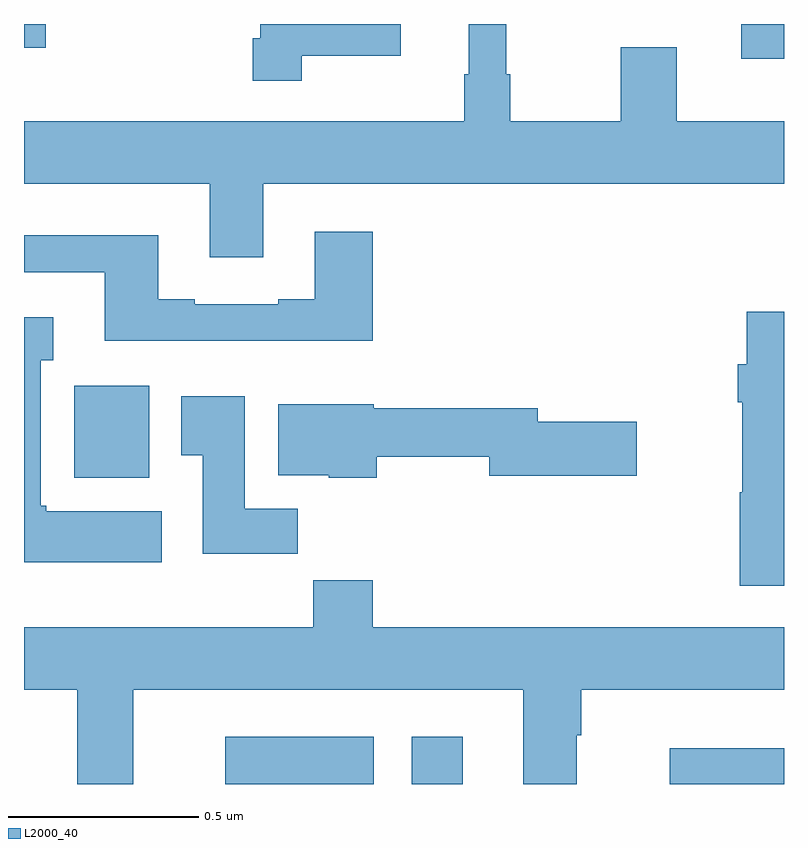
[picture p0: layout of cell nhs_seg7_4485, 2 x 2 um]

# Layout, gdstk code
import gdstk
lib = gdstk.Library(unit=1e-6, precision=1e-09)
def R(c, l, rs):  # rectangles x0, y0, x1, y1
    for r in rs: c.add(gdstk.rectangle(r[:2], r[2:], *l))
def P(c, l, *ps):  # polygons
    for p in ps: c.add(gdstk.Polygon(p, *l))
L2000_40 = (2000, 40)

nhs_seg7_4485 = lib.new_cell('nhs_seg7_4485')
R(nhs_seg7_4485, L2000_40, [(173.529,1035,173.92,1035.124), (174.02,1035,174.154,1035.124), (174.699,1035,175,1035.094), (173.132,1035.806,173.329,1036.048), (174.887,1036.908,175,1037), (173,1036.938,173.057,1037)])
P(nhs_seg7_4485, L2000_40, [(173.629,1036.58),(175,1036.58),(175,1036.744),(174.718,1036.744),(174.718,1036.939),(174.571,1036.939),(174.571,1036.744),(174.28,1036.744),(174.28,1036.868),(174.269,1036.868),(174.269,1037),(174.17,1037),(174.17,1036.868),(174.159,1036.868),(174.159,1036.744),(173,1036.744),(173,1036.58),(173.489,1036.58),(173.489,1036.386),(173.629,1036.386)],
  [(173.731,1036.916),(173.992,1036.916),(173.992,1037),(173.622,1037),(173.622,1036.963),(173.602,1036.963),(173.602,1036.851),(173.731,1036.851)],
  [(173.918,1036.453),(173.765,1036.453),(173.765,1036.276),(173.669,1036.276),(173.669,1036.263),(173.449,1036.263),(173.449,1036.276),(173.353,1036.276),(173.353,1036.444),(173,1036.444),(173,1036.347),(173.213,1036.347),(173.213,1036.166),(173.918,1036.166)],
  [(175,1036.243),(174.902,1036.243),(174.902,1036.104),(174.878,1036.104),(174.878,1036.004),(174.89,1036.004),(174.89,1035.768),(174.883,1035.768),(174.883,1035.522),(175,1035.522)],
  [(173.362,1035.718),(173.058,1035.718),(173.058,1035.732),(173.044,1035.732),(173.044,1036.115),(173.077,1036.115),(173.077,1036.228),(173,1036.228),(173,1035.584),(173.362,1035.584)],
  [(173.72,1035.724),(173.581,1035.724),(173.581,1036.021),(173.414,1036.021),(173.414,1035.865),(173.471,1035.865),(173.471,1035.606),(173.72,1035.606)],
  [(173.928,1035.861),(174.224,1035.861),(174.224,1035.811),(174.613,1035.811),(174.613,1035.953),(174.352,1035.953),(174.352,1035.989),(173.92,1035.989),(173.92,1036),(173.669,1036),(173.669,1035.812),(173.802,1035.812),(173.802,1035.806),(173.928,1035.806)],
  [(173.287,1035.248),(174.314,1035.248),(174.314,1035),(174.454,1035),(174.454,1035.128),(174.467,1035.128),(174.467,1035.248),(175,1035.248),(175,1035.412),(173.918,1035.412),(173.918,1035.536),(173.761,1035.536),(173.761,1035.412),(173,1035.412),(173,1035.248),(173.14,1035.248),(173.14,1035),(173.287,1035)])

lib.write_gds('nhs_seg7_4485.gds')
